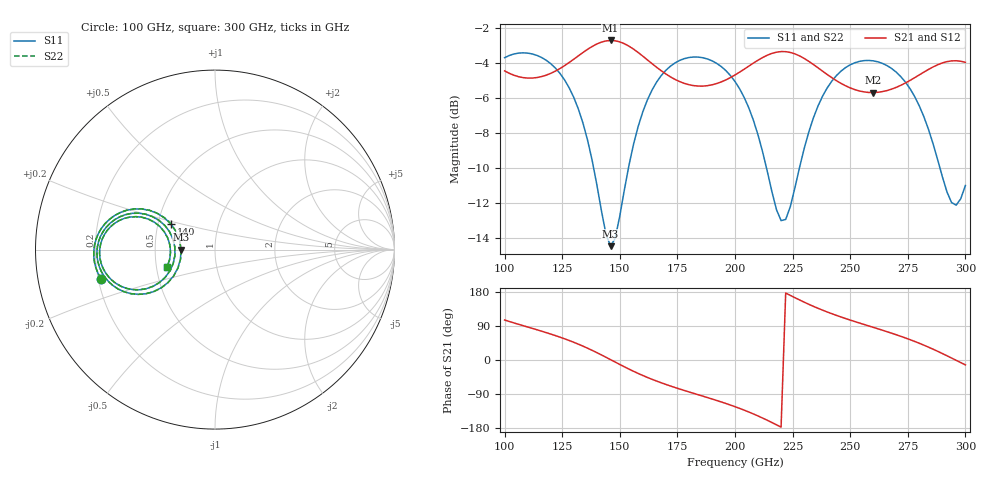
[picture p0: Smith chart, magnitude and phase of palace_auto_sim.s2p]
#  GHZ S DB R 50
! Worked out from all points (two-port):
!   101 points, 100 GHz to 300 GHz, reference 50 ohm
!   highest |S21| = -2.69 dB at 146 GHz (marker M1); lowest = -5.7 dB at 260 GHz (marker M2)
!   |S21| within 3 dB of the highest: start of sweep to end of sweep
!   lowest |S11| = -14.5 dB at 146 GHz (marker M3), VSWR 1.47, Z = 34.1 + j0.0212 ohm
!   |S11| at or under -10 dB: 138.7 GHz to 153.7 GHz (15.07 GHz wide, 10.3 % of centre); 213.7 GHz to 227.9 GHz (14.24 GHz wide, 6.45 % of centre); 289 GHz to end of sweep
!   |S22| runs from -14.5 to -3.4 dB; largest |S21 - S12| = 8.2e-14
!   S11 on the Smith chart (normalised r, x): 100 GHz: 0.21, -0.12; 140 GHz: 0.58, +0.18; 300 GHz: 0.57, -0.12
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100  -3.67 -165.5  -4.43 105.5  -4.43 105.5  -3.67 -165.5
116  -3.66 172.3  -4.76 76.1  -4.76 76.1  -3.66 172.2
126  -4.94 158.6  -4.13 56.0  -4.13 56.0  -4.94 158.5
134  -7.41 149.1  -3.38 36.6  -3.38 36.6  -7.41 149.0
140  -10.91 149.9  -2.89 19.6  -2.89 19.6  -10.93 149.7
146  -14.46 179.9  -2.69 0.9  -2.69 0.9  -14.50 179.8
152  -11.22 -147.4  -2.87 -18.0  -2.87 -18.0  -11.24 -147.3
158  -7.59 -145.7  -3.38 -35.5  -3.38 -35.5  -7.60 -145.6
168  -4.69 -157.9  -4.42 -60.2  -4.42 -60.2  -4.70 -157.8
184  -3.64 -179.1  -5.30 -91.6  -5.30 -91.6  -3.64 -179.0
200  -5.04 160.9  -4.66 -123.2  -4.66 -123.2  -5.04 160.9
210  -8.09 152.2  -3.82 -147.7  -3.82 -147.7  -8.09 152.2
220  -12.99 176.7  -3.32 -177.1  -3.32 -177.1  -12.99 176.7
226  -11.12 -154.7  -3.45 164.5  -3.45 164.5  -11.11 -154.7
234  -7.13 -150.3  -4.06 141.7  -4.06 141.7  -7.13 -150.3
248  -4.24 -166.0  -5.28 109.4  -5.28 109.4  -4.24 -166.0
260  -3.85 179.4  -5.67 86.2  -5.67 86.2  -3.85 179.4
268  -4.29 169.9  -5.47 70.7  -5.47 70.7  -4.29 169.9
276  -5.45 161.0  -4.97 53.6  -4.97 53.6  -5.45 161.0
284  -7.78 155.4  -4.34 33.9  -4.34 33.9  -7.78 155.4
294  -11.96 174.3  -3.86 5.2  -3.86 5.2  -11.94 174.3
300  -10.99 -160.4  -3.94 -12.9  -3.94 -12.9  -10.97 -160.5
